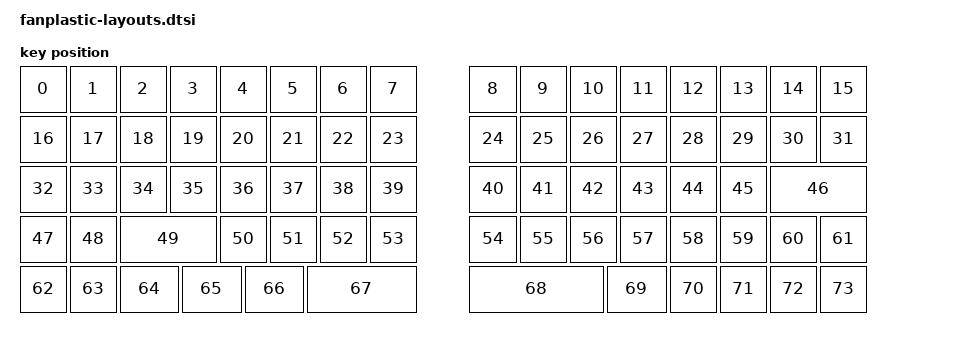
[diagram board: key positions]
#include <physical_layouts.dtsi>

/ {
    layouts_fanplastic_position_map: layouts_fanplastic_position_map {
        compatible = "zmk,physical-layout-position-map";

        complete;
    };
};

/ {
    key_physical_attrs: key_physical_attrs {
        compatible = "zmk,key-physical-attrs";
        #key-cells = <7>;
    };
};

/ {
    fanplastic_layout: fanplastic_layout {
        compatible = "zmk,physical-layout";
        display-name = "fanplastic";

        keys  //                     w   h    x    y     rot    rx    ry
            = <&key_physical_attrs 100 100    0    0       0     0     0>
            , <&key_physical_attrs 100 100  100    0       0     0     0>
            , <&key_physical_attrs 100 100  200    0       0     0     0>
            , <&key_physical_attrs 100 100  300    0       0     0     0>
            , <&key_physical_attrs 100 100  400    0       0     0     0>
            , <&key_physical_attrs 100 100  500    0       0     0     0>
            , <&key_physical_attrs 100 100  600    0       0     0     0>
            , <&key_physical_attrs 100 100  700    0       0     0     0>

            , <&key_physical_attrs 100 100  900    0       0     0     0>
            , <&key_physical_attrs 100 100 1000    0       0     0     0>
            , <&key_physical_attrs 100 100 1100    0       0     0     0>
            , <&key_physical_attrs 100 100 1200    0       0     0     0>
            , <&key_physical_attrs 100 100 1300    0       0     0     0>
            , <&key_physical_attrs 100 100 1400    0       0     0     0>
            , <&key_physical_attrs 100 100 1500    0       0     0     0>
            , <&key_physical_attrs 100 100 1600    0       0     0     0>
            

            , <&key_physical_attrs 100 100    0  100       0     0     0>
            , <&key_physical_attrs 100 100  100  100       0     0     0>
            , <&key_physical_attrs 100 100  200  100       0     0     0>
            , <&key_physical_attrs 100 100  300  100       0     0     0>
            , <&key_physical_attrs 100 100  400  100       0     0     0>
            , <&key_physical_attrs 100 100  500  100       0     0     0>
            , <&key_physical_attrs 100 100  600  100       0     0     0>
            , <&key_physical_attrs 100 100  700  100       0     0     0>
            
            , <&key_physical_attrs 100 100  900  100       0     0     0>
            , <&key_physical_attrs 100 100 1000  100       0     0     0>
            , <&key_physical_attrs 100 100 1100  100       0     0     0>
            , <&key_physical_attrs 100 100 1200  100       0     0     0>
            , <&key_physical_attrs 100 100 1300  100       0     0     0>
            , <&key_physical_attrs 100 100 1400  100       0     0     0>
            , <&key_physical_attrs 100 100 1500  100       0     0     0>
            , <&key_physical_attrs 100 100 1600  100       0     0     0>
            

            , <&key_physical_attrs 100 100    0  200       0     0     0>
            , <&key_physical_attrs 100 100  100  200       0     0     0>
            , <&key_physical_attrs 100 100  200  200       0     0     0>
            , <&key_physical_attrs 100 100  300  200       0     0     0>
            , <&key_physical_attrs 100 100  400  200       0     0     0>
            , <&key_physical_attrs 100 100  500  200       0     0     0>
            , <&key_physical_attrs 100 100  600  200       0     0     0>
            , <&key_physical_attrs 100 100  700  200       0     0     0>
            
            , <&key_physical_attrs 100 100  900  200       0     0     0>
            , <&key_physical_attrs 100 100 1000  200       0     0     0>
            , <&key_physical_attrs 100 100 1100  200       0     0     0>
            , <&key_physical_attrs 100 100 1200  200       0     0     0>
            , <&key_physical_attrs 100 100 1300  200       0     0     0>
            , <&key_physical_attrs 100 100 1400  200       0     0     0>
            , <&key_physical_attrs 200 100 1500  200       0     0     0>
            

            , <&key_physical_attrs 100 100    0  300       0     0     0>
            , <&key_physical_attrs 100 100  100  300       0     0     0>
            , <&key_physical_attrs 200 100  200  300       0     0     0>
            , <&key_physical_attrs 100 100  400  300       0     0     0>
            , <&key_physical_attrs 100 100  500  300       0     0     0>
            , <&key_physical_attrs 100 100  600  300       0     0     0>
            , <&key_physical_attrs 100 100  700  300       0     0     0>
            
            , <&key_physical_attrs 100 100  900  300       0     0     0>
            , <&key_physical_attrs 100 100 1000  300       0     0     0>
            , <&key_physical_attrs 100 100 1100  300       0     0     0>
            , <&key_physical_attrs 100 100 1200  300       0     0     0>
            , <&key_physical_attrs 100 100 1300  300       0     0     0>
            , <&key_physical_attrs 100 100 1400  300       0     0     0>
            , <&key_physical_attrs 100 100 1500  300       0     0     0>
            , <&key_physical_attrs 100 100 1600  300       0     0     0>
            

            , <&key_physical_attrs 100 100    0  400       0     0     0>
            , <&key_physical_attrs 100 100  100  400       0     0     0>
            , <&key_physical_attrs 125 100  200  400       0     0     0>
            , <&key_physical_attrs 125 100  325  400       0     0     0>
            , <&key_physical_attrs 125 100  450  400       0     0     0>
            , <&key_physical_attrs 225 100  575  400       0     0     0>
            
            , <&key_physical_attrs 275 100  900  400       0     0     0>
            , <&key_physical_attrs 125 100 1175  400       0     0     0>
            , <&key_physical_attrs 100 100 1300  400       0     0     0>
            , <&key_physical_attrs 100 100 1400  400       0     0     0>
            , <&key_physical_attrs 100 100 1500  400       0     0     0>
            , <&key_physical_attrs 100 100 1600  400       0     0     0>
        ;
    };
};

&layouts_fanplastic_position_map {
    fanplastic_posmap: def {
        physical-layout = <&fanplastic_layout>;
        positions
            = < 0  1  2  3  4  5  6  7  8  9 10 11 12 13 14 15>
            , <16 17 18 19 20 21 22 23 24 25 26 27 28 29 30 31>
            , <32 33 34 35 36 37 38 39 40 41 42 43 44 45 46   >
            , <47 48 49    50 51 52 53 54 55 56 57 58 59 60 61>
            , <62 63 64 65    66 67       68    69 70 71 72 73>;
    };
};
